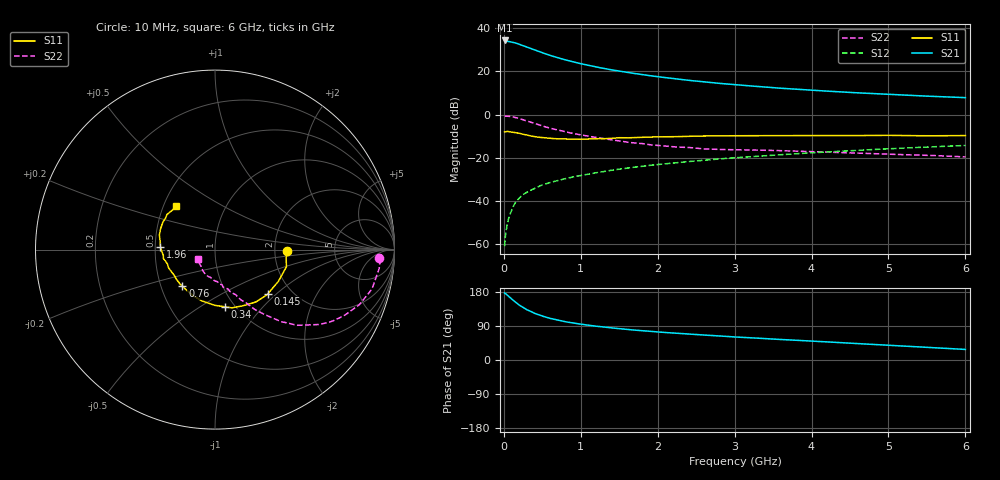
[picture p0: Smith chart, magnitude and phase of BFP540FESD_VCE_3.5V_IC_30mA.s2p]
! Infineon Technologies  Discrete & RF Semiconductors
! BFP540FESD
! VCE =  3.5 V,  IC =  30 mA
! Common Emitter S-Parameters:  Nov 2015
# GHz  S  MA  R  50
!  f  S11  S21  S12  S22
! GHz  MAG  ANG  MAG  ANG  MAG  ANG  MAG  ANG
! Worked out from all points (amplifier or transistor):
!   210 points, 10 MHz to 6 GHz, reference 50 ohm
!   highest |S21| = 34.3 dB at 10 MHz (marker M1)
!   |S21| within 3 dB of that: start of sweep to 297.1 MHz
!   unconditionally stable (mu >= 1): start of sweep to 17.27 MHz; 1.569 GHz to end of sweep
!   at 185 MHz: K = 0.40, MSG = 36.0 dB, |S12| = -39.3 dB
!   at 1.52 GHz: K = 0.99, MSG = 22.6 dB, |S12| = -25.2 dB
!   at 6 GHz: K = 1.16, MAG = 8.6 dB, |S12| = -14.3 dB
!   S11 on the Smith chart (normalised r, x): 10 MHz: 2.33, -0.04; 145 MHz: 1.53, -0.88; 340 MHz: 0.90, -0.64; 760 MHz: 0.64, -0.28; 1.96 GHz: 0.53, +0.02; 6 GHz: 0.58, +0.32
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0.01  0.3994 -1.1  52.13 176.8  0.0009 66.1  0.9129 -2.9
0.02  0.3989 -6.6  50.28 175.6  0.0015 85.4  0.9252 -1.8
0.05  0.4093 -13.5  49.97 170.2  0.0032 83.3  0.9207 -6.6
0.1  0.3949 -26.7  48.09 161.0  0.006 80.2  0.9018 -14.1
0.145  0.3838 -39.7  46.02 153.7  0.0089 75.0  0.865 -20.1
0.2  0.3702 -51.9  42.7 145.0  0.0117 73.6  0.811 -26.7
0.24  0.3539 -60.5  40.23 140.0  0.0137 71.8  0.7722 -30.7
0.3  0.3379 -73.8  36.74 132.6  0.0159 69.3  0.712 -35.9
0.34  0.3236 -80.1  34.49 129.2  0.0174 68.5  0.6753 -38.4
0.4  0.3103 -90.5  31.38 123.1  0.0196 67.5  0.623 -42.6
0.5  0.2946 -104.8  27.09 115.7  0.0236 66.0  0.5454 -47.4
0.6  0.2835 -116.4  23.49 109.9  0.0268 65.8  0.4857 -50.7
0.76  0.2732 -131.7  19.4 102.8  0.0317 66.2  0.4151 -55.3
0.9  0.271 -142.5  16.62 97.5  0.0362 65.5  0.3662 -58.3
1.02  0.2696 -149.6  14.83 94.0  0.0395 66.3  0.3348 -60.5
1.4  0.282 -166.8  10.9 84.7  0.0515 65.0  0.2602 -68.5
1.96  0.3045 176.9  7.717 74.7  0.0686 62.9  0.1963 -80.8
2.02  0.306 175.2  7.476 73.7  0.0702 62.6  0.1926 -82.5
3.1  0.3247 158.9  4.775 59.8  0.1028 56.8  0.1532 -104.9
4.1  0.328 150.9  3.584 48.8  0.1336 50.8  0.137 -118.7
5.1  0.3293 142.4  2.894 37.7  0.165 43.0  0.1197 -132.3
6  0.327 131.3  2.472 27.9  0.1931 35.7  0.1049 -151.7
